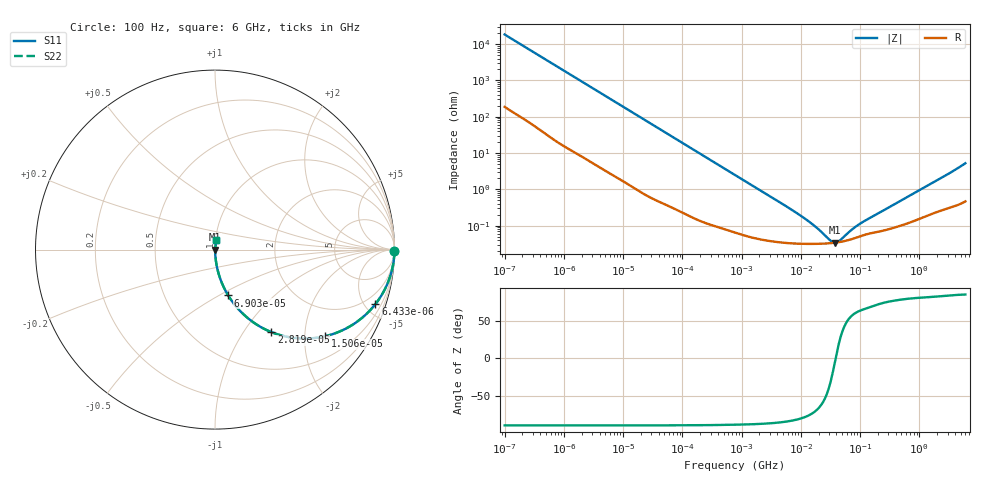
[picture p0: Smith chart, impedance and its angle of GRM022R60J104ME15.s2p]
!Murata Part Number: GRM022R60J104ME15
!These Parameters are Measured in Series Mode Connection
!Data Generated on Mar 30, 2021
!  o--ll--o
!Port1  Port2
!  o------o
!Operation Temp=25[degC], DC Bias Voltage=0[V]
!Freq. Start=100[Hz] Stop=6[GHz] 401[Steps]
# Hz S RI R 50
!Freq.(Hz) S11(Real) S11(Imag) S21(Real) S21(Imag) S12(Real) S12(Imag) S22(Real) S22(Imag)
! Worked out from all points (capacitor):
!   401 points, 100 Hz to 6 GHz, reference 50 ohm
!   read as one part in series: C = 86.2 nF near 109 Hz
!   lowest |Z| = 34.2 mohm at 38.09 MHz (marker M1)
!   series resonance near 38.77 MHz, so ESL is about 200 pH
!   S11 on the Smith chart (normalised r, x): 100 Hz: open; 6.433 kHz: 1.05, -5.86; 15.06 kHz: 1.02, -2.52; 28.19 kHz: 1.01, -1.35; 69.03 kHz: 1.01, -0.55; 6 GHz: 1.01, +0.10
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100  0.9999 -0.00543  8.47e-05 0.00543  8.47e-05 0.00543  0.9999 -0.00543
627  0.9986 -0.0336  0.00142 0.0336  0.00142 0.0336  0.9986 -0.0336
2008  0.9878 -0.1058  0.0122 0.1058  0.0122 0.1058  0.9878 -0.1058
3931  0.9566 -0.1996  0.0434 0.1996  0.0434 0.1996  0.9566 -0.1996
6433  0.8937 -0.3039  0.1063 0.3039  0.1063 0.3039  0.8937 -0.3039
9626  0.792 -0.4015  0.208 0.4015  0.208 0.4015  0.792 -0.4015
15062  0.6119 -0.483  0.3881 0.483  0.3881 0.483  0.6119 -0.483
20606  0.4593 -0.494  0.5407 0.494  0.5407 0.494  0.4593 -0.494
28191  0.314 -0.4596  0.686 0.4596  0.686 0.4596  0.314 -0.4596
40335  0.1846 -0.3831  0.8154 0.3831  0.8154 0.3831  0.1846 -0.3831
69028  0.0736 -0.2556  0.9264 0.2556  0.9264 0.2556  0.0736 -0.2556
193316  0.0111 -0.0982  0.9889 0.0982  0.9889 0.0982  0.0111 -0.0982
774597  0.00128 -0.0251  0.9987 0.0251  0.9987 0.0251  0.00128 -0.0251
6353432  0.000339 -0.00303  0.9997 0.00303  0.9997 0.00303  0.000339 -0.00303
1.555665e7  0.000316 -0.00107  0.9997 0.00107  0.9997 0.00107  0.000316 -0.00107
3.184506e7  0.000331 -0.000201  0.9997 0.000201  0.9997 0.000201  0.000331 -0.000201
3.80911e7  0.000341 -1.75e-05  0.9997 1.75e-05  0.9997 1.75e-05  0.000341 -1.75e-05
4.556224e7  0.000356 0.000163  0.9996 -0.000163  0.9996 -0.000163  0.000356 0.000163
7.129496e7  0.000424 0.000631  0.9996 -0.000631  0.9996 -0.000631  0.000424 0.000631
9.753859e7  0.000503 0.000988  0.9995 -0.000988  0.9995 -0.000988  0.000503 0.000988
3.124326e8  0.000818 0.00314  0.9992 -0.00314  0.9992 -0.00314  0.000818 0.00314
6e9  0.00735 0.0517  0.9926 -0.0517  0.9926 -0.0517  0.00735 0.0517
